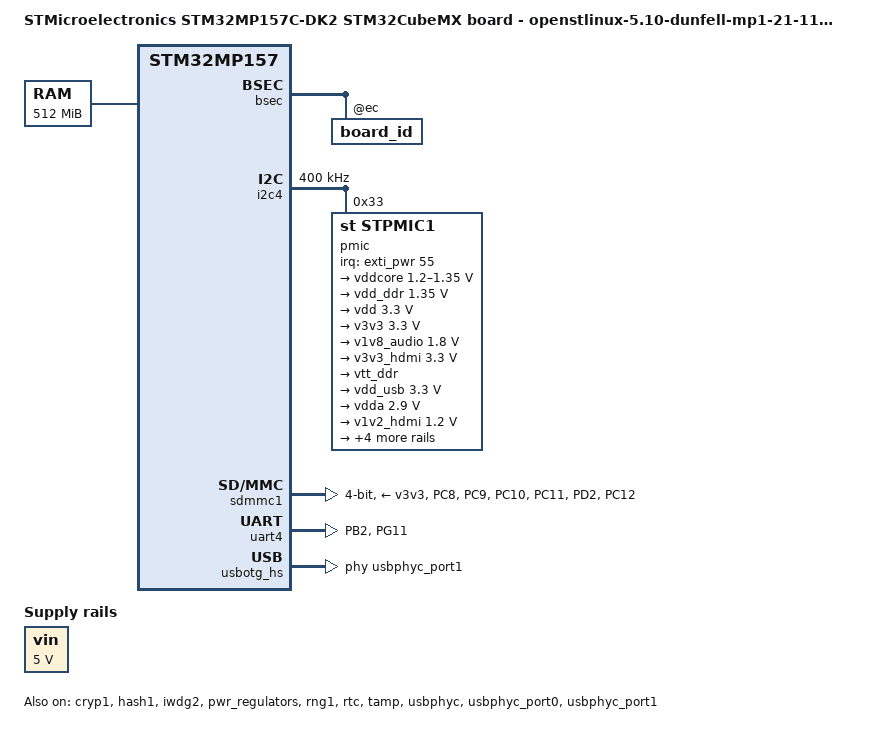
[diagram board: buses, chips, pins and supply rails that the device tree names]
/* SPDX-License-Identifier: (GPL-2.0+ OR BSD-3-Clause) */
/*
 * Copyright (C) STMicroelectronics 2021 - All Rights Reserved
 * Author: STM32CubeMX code generation for STMicroelectronics.
 */

/* For more information on Device Tree configuration, please refer to
 * https://wiki.st.com/stm32mpu/wiki/Category:Device_tree_configuration
 */

/dts-v1/;
#include <dt-bindings/pinctrl/stm32-pinfunc.h>
#include <dt-bindings/clock/stm32mp1-clksrc.h>
#include <dt-bindings/soc/st,stm32-etzpc.h>
#include "stm32mp15-mx.dtsi"

#include "stm32mp157.dtsi"
#include "stm32mp15xc.dtsi"
#include "stm32mp15xxac-pinctrl.dtsi"
#include "stm32mp15-ddr.dtsi"

/* USER CODE BEGIN includes */
#include <dt-bindings/power/stm32mp1-power.h>
/* USER CODE END includes */

/ {
	model = "STMicroelectronics STM32MP157C-DK2 STM32CubeMX board - openstlinux-5.10-dunfell-mp1-21-11-17";
	compatible = "st,stm32mp157c-dk2-mx", "st,stm32mp157";

	memory@c0000000 {
		device_type = "memory";
		reg = <0xc0000000 0x20000000>;

		/* USER CODE BEGIN memory */
		/* USER CODE END memory */
	};

	/* USER CODE BEGIN root */

	vin:vin{
		compatible = "regulator-fixed";
		regulator-name = "vin";
		regulator-min-microvolt = <5000000>;
		regulator-max-microvolt = <5000000>;
		regulator-always-on;
	};

	aliases{
		serial0 = &uart4;
		serial1 = &usart3;
		serial2 = &uart7;
		serial3 = &usart2;
	};

	chosen{
		stdout-path = "serial0:115200n8";
	};
	/* USER CODE END root */

	clocks {
		/* USER CODE BEGIN clocks */
		/* USER CODE END clocks */

		clk_lse: clk-lse {
			st,drive = < LSEDRV_MEDIUM_HIGH >;

			/* USER CODE BEGIN clk_lse */
			/* USER CODE END clk_lse */
		};

		clk_hse: clk-hse {
			st,digbypass;

			/* USER CODE BEGIN clk_hse */
			/* USER CODE END clk_hse */
		};
	};

}; /*root*/

&pinctrl {
	rtc_pins_mx: rtc_mx-0 {
		pins {
			pinmux = <STM32_PINMUX('I', 8, ANALOG)>; /* RTC_LSCO */
		};
	};

	sdmmc1_pins_mx: sdmmc1_mx-0 {
		pins1 {
			pinmux = <STM32_PINMUX('C', 8, AF12)>, /* SDMMC1_D0 */
					 <STM32_PINMUX('C', 9, AF12)>, /* SDMMC1_D1 */
					 <STM32_PINMUX('C', 10, AF12)>, /* SDMMC1_D2 */
					 <STM32_PINMUX('C', 11, AF12)>, /* SDMMC1_D3 */
					 <STM32_PINMUX('D', 2, AF12)>; /* SDMMC1_CMD */
			bias-disable;
			drive-push-pull;
			slew-rate = <1>;
		};
		pins2 {
			pinmux = <STM32_PINMUX('C', 12, AF12)>; /* SDMMC1_CK */
			bias-disable;
			drive-push-pull;
			slew-rate = <2>;
		};
	};

	uart4_pins_mx: uart4_mx-0 {
		pins1 {
			pinmux = <STM32_PINMUX('B', 2, AF8)>; /* UART4_RX */
			bias-disable;
		};
		pins2 {
			pinmux = <STM32_PINMUX('G', 11, AF6)>; /* UART4_TX */
			bias-disable;
			drive-push-pull;
			slew-rate = <0>;
		};
	};

	/* USER CODE BEGIN pinctrl */
	/* USER CODE END pinctrl */
};

&pinctrl_z {
	i2c4_pins_z_mx: i2c4_mx-0 {
		pins {
			pinmux = <STM32_PINMUX('Z', 4, AF6)>, /* I2C4_SCL */
					 <STM32_PINMUX('Z', 5, AF6)>; /* I2C4_SDA */
			bias-disable;
			drive-open-drain;
			slew-rate = <0>;
		};
	};

	/* USER CODE BEGIN pinctrl_z */
	/* USER CODE END pinctrl_z */
};

&bsec{
	status = "okay";
	secure-status = "okay";

	/* USER CODE BEGIN bsec */

	board_id:board_id@ec{
		reg = <0xec 0x4>;
		st,non-secure-otp;
	};
	/* USER CODE END bsec */
};

&cryp1{
	status = "okay";

	/* USER CODE BEGIN cryp1 */
	/* USER CODE END cryp1 */
};

&etzpc{
	secure-status = "okay";
	st,decprot = <
	/*"Non Secured" peripherals*/
	DECPROT(STM32MP1_ETZPC_ADC_ID, DECPROT_NS_RW, DECPROT_UNLOCK)
	DECPROT(STM32MP1_ETZPC_CRYP1_ID, DECPROT_NS_RW, DECPROT_UNLOCK)
	DECPROT(STM32MP1_ETZPC_DMA1_ID, DECPROT_NS_RW, DECPROT_UNLOCK)
	DECPROT(STM32MP1_ETZPC_DMA2_ID, DECPROT_NS_RW, DECPROT_UNLOCK)
	DECPROT(STM32MP1_ETZPC_DMAMUX_ID, DECPROT_NS_RW, DECPROT_UNLOCK)
	DECPROT(STM32MP1_ETZPC_ETH_ID, DECPROT_NS_RW, DECPROT_UNLOCK)
	DECPROT(STM32MP1_ETZPC_HASH1_ID, DECPROT_NS_RW, DECPROT_UNLOCK)
	DECPROT(STM32MP1_ETZPC_CEC_ID, DECPROT_NS_RW, DECPROT_UNLOCK)
	DECPROT(STM32MP1_ETZPC_I2C1_ID, DECPROT_NS_RW, DECPROT_UNLOCK)
	DECPROT(STM32MP1_ETZPC_I2C4_ID, DECPROT_NS_RW, DECPROT_UNLOCK)
	DECPROT(STM32MP1_ETZPC_SPI2_ID, DECPROT_NS_RW, DECPROT_UNLOCK)
	DECPROT(STM32MP1_ETZPC_RNG1_ID, DECPROT_NS_RW, DECPROT_UNLOCK)
	DECPROT(STM32MP1_ETZPC_SAI2_ID, DECPROT_NS_RW, DECPROT_UNLOCK)
	DECPROT(STM32MP1_ETZPC_UART4_ID, DECPROT_NS_RW, DECPROT_UNLOCK)
	DECPROT(STM32MP1_ETZPC_USART2_ID, DECPROT_NS_RW, DECPROT_UNLOCK)
	DECPROT(STM32MP1_ETZPC_OTG_ID, DECPROT_NS_RW, DECPROT_UNLOCK)
	DECPROT(STM32MP1_ETZPC_VREFBUF_ID, DECPROT_NS_RW, DECPROT_UNLOCK)
	/*"NS_R S_W" peripherals*/
	DECPROT(STM32MP1_ETZPC_DDRCTRL_ID, DECPROT_NS_R_S_W, DECPROT_LOCK)
	DECPROT(STM32MP1_ETZPC_DDRPHYC_ID, DECPROT_NS_R_S_W, DECPROT_LOCK)
	/*"Secured" peripherals*/
	DECPROT(STM32MP1_ETZPC_STGENC_ID, DECPROT_S_RW, DECPROT_UNLOCK)

	/*Restriction: following IDs are not managed  - please to use User-Section if needed:
		  STM32MP1_ETZPC_SRAMx_ID  STM32MP1_ETZPC_RETRAM_ID  STM32MP1_ETZPC_BKPSRAM_ID*/

	/* USER CODE BEGIN etzpc_decprot */
		/*STM32CubeMX generates a basic and standard configuration for ETZPC.
		Additional device configurations can be added here if needed.
		"etzpc" node could be also overloaded in "addons" User-Section.*/
	
	DECPROT(STM32MP1_ETZPC_BKPSRAM_ID, DECPROT_S_RW, DECPROT_UNLOCK)
	
	/* USER CODE END etzpc_decprot */
	>;

	/* USER CODE BEGIN etzpc */
	/* USER CODE END etzpc */
};

&hash1{
	status = "okay";

	/* USER CODE BEGIN hash1 */
	/* USER CODE END hash1 */
};

&i2c4{
	pinctrl-names = "default";
	pinctrl-0 = <&i2c4_pins_z_mx>;
	status = "okay";
	secure-status = "okay";

	/* USER CODE BEGIN i2c4 */
	i2c-scl-rising-time-ns = <185>;
	i2c-scl-falling-time-ns = <20>;
	clock-frequency = <400000>;

	pmic:stpmic@33{
		compatible = "st,stpmic1";
		reg = <0x33>;
		interrupts-extended = <&exti_pwr 55 IRQ_TYPE_EDGE_FALLING>;
		interrupt-controller;
		#interrupt-cells = <2>;
		status = "okay";
		secure-status = "okay";

		regulators{
			compatible = "st,stpmic1-regulators";
			buck1-supply = <&vin>;
			buck2-supply = <&vin>;
			buck3-supply = <&vin>;
			buck4-supply = <&vin>;
			ldo1-supply = <&v3v3>;
			ldo2-supply = <&vin>;
			ldo3-supply = <&vdd_ddr>;
			ldo4-supply = <&vin>;
			ldo5-supply = <&vin>;
			ldo6-supply = <&v3v3>;
			vref_ddr-supply = <&vin>;
			boost-supply = <&vin>;
			pwr_sw1-supply = <&bst_out>;
			pwr_sw2-supply = <&bst_out>;

			vddcore:buck1{
				regulator-name = "vddcore";
				regulator-min-microvolt = <1200000>;
				regulator-max-microvolt = <1350000>;
				regulator-always-on;
				regulator-initial-mode = <0>;
				regulator-over-current-protection;

				lp-stop{
					regulator-on-in-suspend;
					regulator-suspend-microvolt = <1200000>;
				};

				standby-ddr-sr{
					regulator-off-in-suspend;
				};

				standby-ddr-off{
					regulator-off-in-suspend;
				};
			};

			vdd_ddr:buck2{
				regulator-name = "vdd_ddr";
				regulator-min-microvolt = <1350000>;
				regulator-max-microvolt = <1350000>;
				regulator-always-on;
				regulator-initial-mode = <0>;
				regulator-over-current-protection;

				lp-stop{
					regulator-suspend-microvolt = <1350000>;
					regulator-on-in-suspend;
				};

				standby-ddr-sr{
					regulator-suspend-microvolt = <1350000>;
					regulator-on-in-suspend;
				};

				standby-ddr-off{
					regulator-off-in-suspend;
				};
			};

			vdd:buck3{
				regulator-name = "vdd";
				regulator-min-microvolt = <3300000>;
				regulator-max-microvolt = <3300000>;
				regulator-always-on;
				st,mask-reset;
				regulator-initial-mode = <0>;
				regulator-over-current-protection;

				lp-stop{
					regulator-suspend-microvolt = <3300000>;
					regulator-on-in-suspend;
				};

				standby-ddr-sr{
					regulator-suspend-microvolt = <3300000>;
					regulator-on-in-suspend;
				};

				standby-ddr-off{
					regulator-suspend-microvolt = <3300000>;
					regulator-on-in-suspend;
				};
			};

			v3v3:buck4{
				regulator-name = "v3v3";
				regulator-min-microvolt = <3300000>;
				regulator-max-microvolt = <3300000>;
				regulator-always-on;
				regulator-over-current-protection;
				regulator-initial-mode = <0>;

				lp-stop{
					regulator-suspend-microvolt = <3300000>;
					regulator-on-in-suspend;
				};

				standby-ddr-sr{
					regulator-off-in-suspend;
				};

				standby-ddr-off{
					regulator-off-in-suspend;
				};
			};

			v1v8_audio:ldo1{
				regulator-name = "v1v8_audio";
				regulator-min-microvolt = <1800000>;
				regulator-max-microvolt = <1800000>;
				regulator-always-on;

				standby-ddr-sr{
					regulator-off-in-suspend;
				};

				standby-ddr-off{
					regulator-off-in-suspend;
				};
			};

			v3v3_hdmi:ldo2{
				regulator-name = "v3v3_hdmi";
				regulator-min-microvolt = <3300000>;
				regulator-max-microvolt = <3300000>;
				regulator-always-on;

				standby-ddr-sr{
					regulator-off-in-suspend;
				};

				standby-ddr-off{
					regulator-off-in-suspend;
				};
			};

			vtt_ddr:ldo3{
				regulator-name = "vtt_ddr";
				regulator-always-on;
				regulator-over-current-protection;
				st,regulator-sink-source;

				lp-stop{
					regulator-off-in-suspend;
				};

				standby-ddr-sr{
					regulator-off-in-suspend;
				};

				standby-ddr-off{
					regulator-off-in-suspend;
				};
			};

			vdd_usb:ldo4{
				regulator-name = "vdd_usb";
				regulator-min-microvolt = <3300000>;
				regulator-max-microvolt = <3300000>;

				standby-ddr-sr{
					regulator-off-in-suspend;
				};

				standby-ddr-off{
					regulator-off-in-suspend;
				};
			};

			vdda:ldo5{
				regulator-name = "vdda";
				regulator-min-microvolt = <2900000>;
				regulator-max-microvolt = <2900000>;
				regulator-boot-on;

				standby-ddr-sr{
					regulator-off-in-suspend;
				};

				standby-ddr-off{
					regulator-off-in-suspend;
				};
			};

			v1v2_hdmi:ldo6{
				regulator-name = "v1v2_hdmi";
				regulator-min-microvolt = <1200000>;
				regulator-max-microvolt = <1200000>;
				regulator-always-on;

				standby-ddr-sr{
					regulator-off-in-suspend;
				};

				standby-ddr-off{
					regulator-off-in-suspend;
				};
			};

			vref_ddr:vref_ddr{
				regulator-name = "vref_ddr";
				regulator-always-on;

				lp-stop{
					regulator-on-in-suspend;
				};

				standby-ddr-sr{
					regulator-on-in-suspend;
				};

				standby-ddr-off{
					regulator-off-in-suspend;
				};
			};

			bst_out:boost{
				regulator-name = "bst_out";
			};

			vbus_otg:pwr_sw1{
				regulator-name = "vbus_otg";
			};

			vbus_sw:pwr_sw2{
				regulator-name = "vbus_sw";
				regulator-active-discharge = <1>;
			};
		};
	};
	/* USER CODE END i2c4 */
};

&iwdg2{
	status = "okay";
	secure-status = "okay";

	/* USER CODE BEGIN iwdg2 */
	timeout-sec = <32>;
	secure-timeout-sec = <5>;
	/* USER CODE END iwdg2 */
};

&pwr_regulators{
	status = "okay";
	secure-status = "okay";

	/* USER CODE BEGIN pwr_regulators */
	system_suspend_supported_soc_modes = <
		STM32_PM_CSLEEP_RUN
		STM32_PM_CSTOP_ALLOW_LP_STOP
		STM32_PM_CSTOP_ALLOW_STANDBY_DDR_SR
	>;
	system_off_soc_mode = <STM32_PM_CSTOP_ALLOW_STANDBY_DDR_OFF>;
	vdd-supply = <&vdd>;
	vdd_3v3_usbfs-supply = <&vdd_usb>;
	/* USER CODE END pwr_regulators */
};

&rcc{
	status = "okay";
	secure-status = "okay";
	st,csi-cal;
	st,hsi-cal;
	st,cal-sec = <60>;
	st,clksrc = <
		CLK_MPU_PLL1P
		CLK_AXI_PLL2P
		CLK_MCU_PLL3P
		CLK_PLL12_HSE
		CLK_PLL3_HSE
		CLK_PLL4_HSE
		CLK_RTC_LSE
		CLK_MCO1_DISABLED
		CLK_MCO2_DISABLED
	>;
	st,clkdiv = <
		1 		/*MPU*/
		0 		/*AXI*/
		0 		/*MCU*/
		1 		/*APB1*/
		1 		/*APB2*/
		1 		/*APB3*/
		1 		/*APB4*/
		2 		/*APB5*/
		23 		/*RTC*/
		0 		/*MCO1*/
		0 		/*MCO2*/
	>;
	st,pkcs = <
		CLK_CKPER_HSE
		CLK_ETH_PLL4P
		CLK_SDMMC12_PLL4P
		CLK_DSI_DSIPLL
		CLK_STGEN_HSE
		CLK_USBPHY_HSE
		CLK_SPI2S1_DISABLED
		CLK_SPI2S23_PLL3Q
		CLK_SPI45_DISABLED
		CLK_SPI6_DISABLED
		CLK_I2C46_HSI
		CLK_SDMMC3_DISABLED
		CLK_USBO_USBPHY
		CLK_ADC_CKPER
		CLK_CEC_LSE
		CLK_I2C12_HSI
		CLK_I2C35_DISABLED
		CLK_UART1_DISABLED
		CLK_UART24_HSI
		CLK_UART35_DISABLED
		CLK_UART6_DISABLED
		CLK_UART78_DISABLED
		CLK_SPDIF_DISABLED
		CLK_SAI1_DISABLED
		CLK_SAI2_PLL3Q
		CLK_SAI3_DISABLED
		CLK_SAI4_DISABLED
		CLK_RNG1_LSI
		CLK_LPTIM1_DISABLED
		CLK_LPTIM23_DISABLED
		CLK_LPTIM45_DISABLED
	>;
	pll2:st,pll@1 {
		compatible = "st,stm32mp1-pll";
		reg = <1>;
		cfg = < 2 65 1 0 0 PQR(1,1,1) >;
		frac = < 0x1400 >;
	};
	pll3:st,pll@2 {
		compatible = "st,stm32mp1-pll";
		reg = <2>;
		cfg = < 1 33 1 16 36 PQR(1,1,0) >;
		frac = < 0x1a04 >;
	};
	pll4:st,pll@3 {
		compatible = "st,stm32mp1-pll";
		reg = <3>;
		cfg = < 3 98 5 7 7 PQR(1,1,0) >;
	};

	/* USER CODE BEGIN rcc */
	/* USER CODE END rcc */
};

&rng1{
	status = "okay";
	secure-status = "okay";

	/* USER CODE BEGIN rng1 */
	/* USER CODE END rng1 */
};

&rtc{
	pinctrl-names = "default";
	pinctrl-0 = <&rtc_pins_mx>;
	status = "okay";
	secure-status = "okay";

	/* USER CODE BEGIN rtc */
	/* USER CODE END rtc */
};

&sdmmc1{
	pinctrl-names = "default";
	pinctrl-0 = <&sdmmc1_pins_mx>;
	status = "okay";

	/* USER CODE BEGIN sdmmc1 */
	disable-wp;
	st,neg-edge;
	bus-width = <4>;
	vmmc-supply = <&v3v3>;
	/* USER CODE END sdmmc1 */
};

&tamp{
	status = "okay";
	secure-status = "okay";

	/* USER CODE BEGIN tamp */
	/* USER CODE END tamp */
};

&uart4{
	pinctrl-names = "default";
	pinctrl-0 = <&uart4_pins_mx>;
	status = "okay";

	/* USER CODE BEGIN uart4 */
	/* USER CODE END uart4 */
};

&usbotg_hs{
	status = "okay";

	/* USER CODE BEGIN usbotg_hs */
	phys = <&usbphyc_port1 0>;
	phy-names = "usb2-phy";
	usb-role-switch;
	/* USER CODE END usbotg_hs */
};

&usbphyc{
	status = "okay";

	/* USER CODE BEGIN usbphyc */
	/* USER CODE END usbphyc */
};

&usbphyc_port0{
	status = "okay";

	/* USER CODE BEGIN usbphyc_port0 */
	phy-supply = <&vdd_usb>;
	/* USER CODE END usbphyc_port0 */
};

&usbphyc_port1{
	status = "okay";

	/* USER CODE BEGIN usbphyc_port1 */
	phy-supply = <&vdd_usb>;
	/* USER CODE END usbphyc_port1 */
};

/* USER CODE BEGIN addons */

&cpu0{
	cpu-supply = <&vddcore>;
};

&cpu1{
	cpu-supply = <&vddcore>;
};

&nvmem_layout{
	nvmem-cells = <&cfg0_otp>,
			<&part_number_otp>,
			<&monotonic_otp>,
			<&nand_otp>,
			<&uid_otp>,
			<&package_otp>,
			<&hw2_otp>,
			<&pkh_otp>,
			<&board_id>;
	nvmem-cell-names = "cfg0_otp",
			"part_number_otp",
			"monotonic_otp",
			"nand_otp",
			"uid_otp",
			"package_otp",
			"hw2_otp",
			"pkh_otp",
			"board_id";
};

&timers15{
	secure-status = "okay";
	st,hsi-cal-input = <7>;
	st,csi-cal-input = <8>;
};
/* USER CODE END addons */

